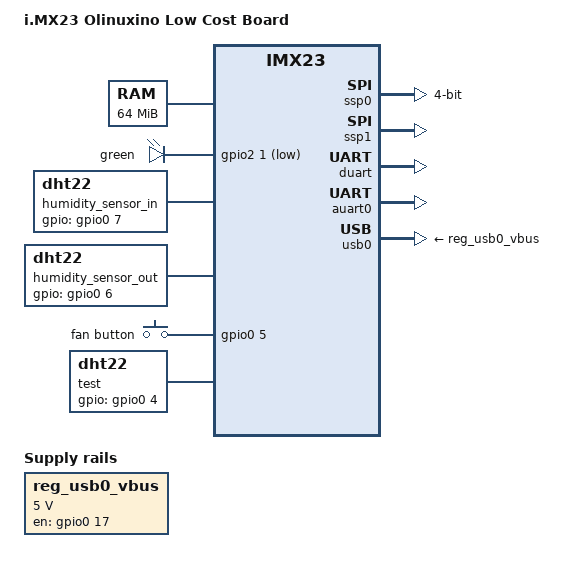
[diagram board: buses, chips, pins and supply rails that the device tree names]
/*
 * Copyright 2012 Freescale Semiconductor, Inc.
 *
 * Author: Fabio Estevam <fabio.estevam@freescale.com>
 *
 * The code contained herein is licensed under the GNU General Public
 * License. You may obtain a copy of the GNU General Public License
 * Version 2 or later at the following locations:
 *
 * http://www.opensource.org/licenses/gpl-license.html
 * http://www.gnu.org/copyleft/gpl.html
 */

/dts-v1/;
/include/ "imx23.dtsi"

/ {
	model = "i.MX23 Olinuxino Low Cost Board";
	compatible = "olimex,imx23-olinuxino", "fsl,imx23";

	memory {
		reg = <0x40000000 0x04000000>;
	};

	apb@80000000 {
		apbh@80000000 {
			ssp0: ssp@80010000 {
				compatible = "fsl,imx23-mmc";
				pinctrl-names = "default";
				pinctrl-0 = <&mmc0_4bit_pins_a &mmc0_pins_fixup>;
				bus-width = <4>;
				status = "okay";
			};

			pinctrl@80018000 {
				pinctrl-names = "default";
				pinctrl-0 = <&hog_pins_a>;

				hog_pins_a: hog@0 {
					reg = <0>;
					fsl,pinmux-ids = <
						0x0113 /* MX23_PAD_GPMI_ALE__GPIO_0_17 */
					>;
					fsl,drive-strength = <0>;
					fsl,voltage = <1>;
					fsl,pull-up = <0>;
				};

				led_pin_gpio2_1: led_gpio2_1@0 {
					reg = <0>;
					fsl,pinmux-ids = <
						0x2013 /* MX23_PAD_SSP1_DETECT__GPIO_2_1 */
					>;
					fsl,drive-strength = <0>;
					fsl,voltage = <1>;
					fsl,pull-up = <0>;
				};
                                dht22_pin1: dht22a@0 {
                                        reg = <0>;
                                        fsl,pinmux-ids = <
                                                0x0073 /* MX23_PAD_GPMI_D07__GPIO_0_7 */
                                        >;
                                        fsl,drive-strength = <0>;
                                        fsl,voltage = <1>;
                                        fsl,pull-up = <1>;
                                };
                                dht22_pin2: dht22b@0 {
                                        reg = <0>;
                                        fsl,pinmux-ids = <
                                                0x0063 /* MX23_PAD_GPMI_D06__GPIO_0_6 */
                                        >;
                                        fsl,drive-strength = <0>;
                                        fsl,voltage = <1>;
                                        fsl,pull-up = <1>;
                                };
                                button_pin1: button@0 {
                                        reg = <0>;
                                        fsl,pinmux-ids = <
                                                0x0053 /* MX23_PAD_GPMI_D05__GPIO_0_5 */
                                        >;
                                        fsl,drive-strength = <0>;
                                        fsl,voltage = <1>;
                                        fsl,pull-up = <1>;
                                };
				extra_pin: test@0 {
					reg = <0>;
					fsl,pinmux-ids = <
						0x0043 /* MX23_PAD_GPMI_D05__GPIO_0_4 */
					>;
					fsl,drive-strength = <0>;
					fsl,voltage = <1>;
					fsl,pull-up = <1>;
				};
			};

			ssp1: ssp@80034000 {
				#address-cells = <1>;
				#size-cells = <0>;
				compatible = "fsl,imx23-spi";
				pinctrl-names = "default";
				pinctrl-0 = <&spi2_pins_a>;
				status = "okay";
			};
		};

		apbx@80040000 {
			duart: serial@80070000 {
				pinctrl-names = "default";
				pinctrl-0 = <&duart_pins_a>;
				status = "okay";
			};

			auart0: serial@8006c000 {
				pinctrl-names = "default";
				pinctrl-0 = <&auart0_2pins_a>;
				status = "okay";
			};

			usbphy0: usbphy@8007c000 {
				status = "okay";
			};
		};
	};

	ahb@80080000 {
		usb0: usb@80080000 {
			vbus-supply = <&reg_usb0_vbus>;
			status = "okay";
		};
	};

	regulators {
		compatible = "simple-bus";

		reg_usb0_vbus: usb0_vbus {
			compatible = "regulator-fixed";
			regulator-name = "usb0_vbus";
			regulator-min-microvolt = <5000000>;
			regulator-max-microvolt = <5000000>;
			enable-active-high;
			startup-delay-us = <300>; /* LAN9215 requires a POR of 200us minimum */
			gpio = <&gpio0 17 0>;
		};
	};

	leds {
		compatible = "gpio-leds";
		pinctrl-names = "default";
		pinctrl-0 = <&led_pin_gpio2_1>;

		user {
			label = "green";
			gpios = <&gpio2 1 1>;
		};
	};

        humidity_sensor_in {
                compatible = "dht22", "dht11-gpio";
                pinctrl-names = "default";
                pinctrl-0 = <&dht22_pin1>;
                gpios = <&gpio0 7 0>;
        };

        humidity_sensor_out {
                compatible = "dht22", "dht11-gpio";
                pinctrl-names = "default";
                pinctrl-0 = <&dht22_pin2>;
                gpios = <&gpio0 6 0>;
        };

	gpio-keys {
		compatible = "gpio-keys";
		pinctrl-names = "default";
		pinctrl-0 = <&button_pin1>;

		fan-button {
			label = "fan button";
			gpios = <&gpio0 5 0>; 
			linux,code = <256>; /* BTN_MISC */
		};
	};

	test {
		compatible = "dht22", "dht11-gpio";
		pinctrl-names = "default";
		pinctrl-0 = <&extra_pin>;
		gpios = <&gpio0 4 0>;
	};
};
